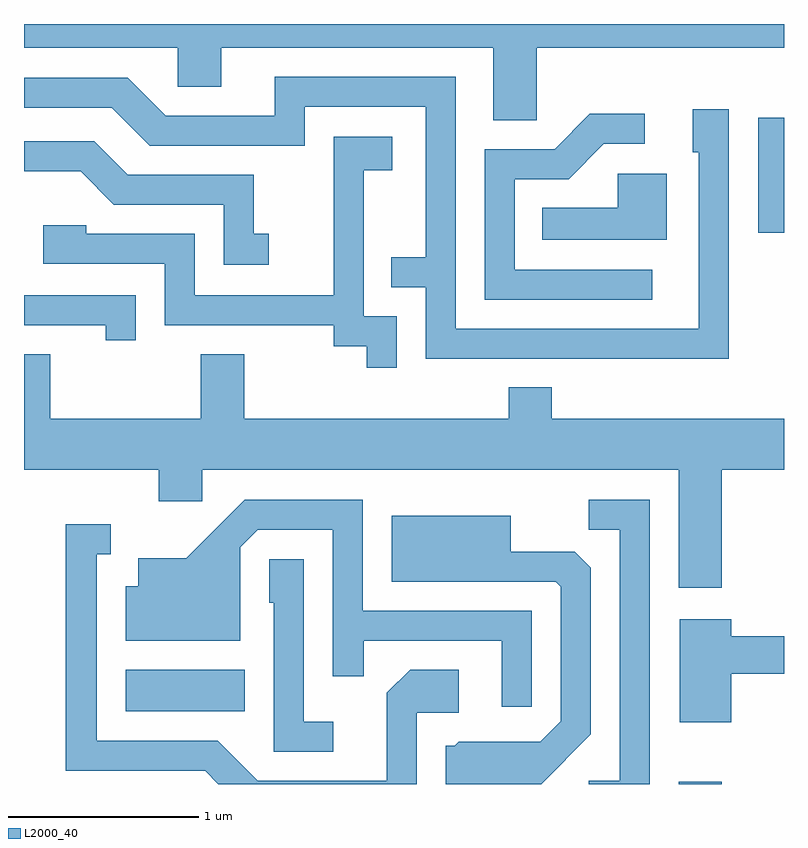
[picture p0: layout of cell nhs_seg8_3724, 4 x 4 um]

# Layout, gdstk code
import gdstk
lib = gdstk.Library(unit=1e-6, precision=1e-09)
def R(c, l, rs):  # rectangles x0, y0, x1, y1
    for r in rs: c.add(gdstk.rectangle(r[:2], r[2:], *l))
def P(c, l, *ps):  # polygons
    for p in ps: c.add(gdstk.Polygon(p, *l))
L2000_40 = (2000, 40)

nhs_seg8_3724 = lib.new_cell('nhs_seg8_3724')
R(nhs_seg8_3724, L2000_40, [(301.056,1810.342,301.284,1810.354), (298.146,1810.726,298.774,1810.944), (301.476,1813.243,301.611,1813.849)])
P(nhs_seg8_3724, L2000_40, [(300.309,1814.216),(301.611,1814.216),(301.611,1814.342),(297.611,1814.342),(297.611,1814.216),(298.421,1814.216),(298.421,1814.011),(298.649,1814.011),(298.649,1814.216),(300.081,1814.216),(300.081,1813.836),(300.309,1813.836)],
  [(301.319,1813.894),(301.131,1813.894),(301.131,1813.666),(301.161,1813.666),(301.161,1812.739),(299.884,1812.739),(299.884,1814.064),(298.931,1814.064),(298.931,1813.859),(298.357,1813.859),(298.157,1814.059),(297.611,1814.059),(297.611,1813.901),(298.074,1813.901),(298.274,1813.701),(299.089,1813.701),(299.089,1813.906),(299.726,1813.906),(299.726,1813.114),(299.543,1813.114),(299.543,1812.956),(299.726,1812.956),(299.726,1812.581),(301.319,1812.581)],
  [(300.918,1813.049),(300.194,1813.049),(300.194,1813.526),(300.477,1813.526),(300.662,1813.711),(300.878,1813.711),(300.878,1813.869),(300.589,1813.869),(300.404,1813.684),(300.036,1813.684),(300.036,1812.891),(300.918,1812.891)],
  [(299.574,1812.804),(299.399,1812.804),(299.399,1813.571),(299.549,1813.571),(299.549,1813.749),(299.241,1813.749),(299.241,1812.914),(298.509,1812.914),(298.509,1813.239),(297.939,1813.239),(297.939,1813.284),(297.711,1813.284),(297.711,1813.081),(298.351,1813.081),(298.351,1812.756),(299.241,1812.756),(299.241,1812.646),(299.416,1812.646),(299.416,1812.533),(299.574,1812.533)],
  [(298.898,1813.239),(298.819,1813.239),(298.819,1813.549),(298.157,1813.549),(297.982,1813.724),(297.611,1813.724),(297.611,1813.566),(297.909,1813.566),(298.084,1813.391),(298.661,1813.391),(298.661,1813.076),(298.898,1813.076)],
  [(300.994,1813.554),(300.736,1813.554),(300.736,1813.374),(300.338,1813.374),(300.338,1813.206),(300.994,1813.206)],
  [(298.199,1812.914),(297.611,1812.914),(297.611,1812.756),(298.041,1812.756),(298.041,1812.678),(298.199,1812.678)],
  [(301.284,1811.996),(301.611,1811.996),(301.611,1812.264),(300.389,1812.264),(300.389,1812.429),(300.161,1812.429),(300.161,1812.264),(298.769,1812.264),(298.769,1812.604),(298.541,1812.604),(298.541,1812.264),(297.749,1812.264),(297.749,1812.604),(297.611,1812.604),(297.611,1811.996),(298.321,1811.996),(298.321,1811.831),(298.549,1811.831),(298.549,1811.996),(301.056,1811.996),(301.056,1811.376),(301.284,1811.376)],
  [(300.284,1811.254),(299.394,1811.254),(299.394,1811.839),(298.774,1811.839),(298.464,1811.529),(298.211,1811.529),(298.211,1811.384),(298.146,1811.384),(298.146,1811.096),(298.749,1811.096),(298.749,1811.589),(298.842,1811.681),(299.236,1811.681),(299.236,1810.908),(299.399,1810.908),(299.399,1811.096),(300.126,1811.096),(300.126,1810.748),(300.284,1810.748)],
  [(300.904,1811.839),(300.583,1811.839),(300.583,1811.681),(300.746,1811.681),(300.746,1810.359),(300.583,1810.359),(300.583,1810.342),(300.904,1810.342)],
  [(300.594,1810.604),(300.594,1811.479),(300.509,1811.564),(300.174,1811.564),(300.174,1811.754),(299.546,1811.754),(299.546,1811.406),(300.409,1811.406),(300.436,1811.379),(300.436,1810.672),(300.329,1810.564),(299.899,1810.564),(299.879,1810.544),(299.831,1810.544),(299.831,1810.342),(300.333,1810.342)],
  [(299.679,1810.716),(299.899,1810.716),(299.899,1810.944),(299.644,1810.944),(299.521,1810.822),(299.521,1810.359),(298.842,1810.359),(298.632,1810.569),(297.994,1810.569),(297.994,1811.551),(298.068,1811.551),(298.068,1811.709),(297.831,1811.709),(297.831,1810.411),(298.564,1810.411),(298.633,1810.342),(299.679,1810.342)],
  [(299.238,1810.669),(299.084,1810.669),(299.084,1811.524),(298.901,1811.524),(298.901,1811.296),(298.926,1811.296),(298.926,1810.511),(299.238,1810.511)],
  [(301.334,1810.921),(301.611,1810.921),(301.611,1811.119),(301.334,1811.119),(301.334,1811.209),(301.061,1811.209),(301.061,1810.666),(301.334,1810.666)])

lib.write_gds('nhs_seg8_3724.gds')
